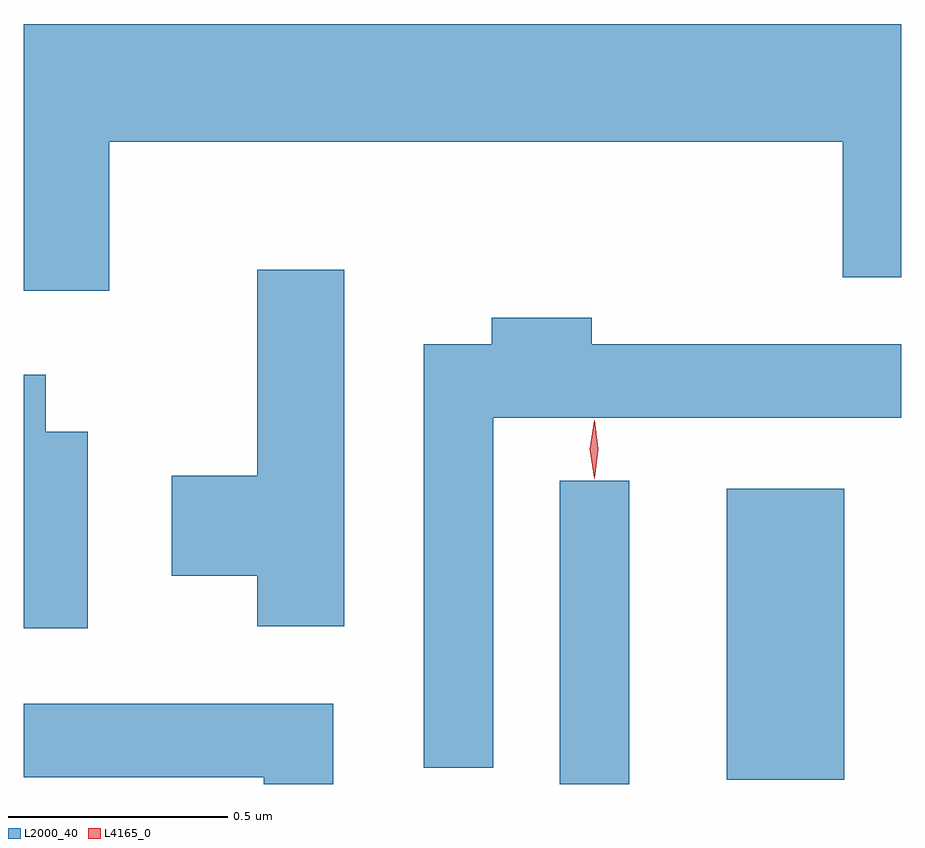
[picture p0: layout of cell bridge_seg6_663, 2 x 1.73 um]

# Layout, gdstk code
import gdstk
lib = gdstk.Library(unit=1e-6, precision=1e-09)
def R(c, l, rs):  # rectangles x0, y0, x1, y1
    for r in rs: c.add(gdstk.rectangle(r[:2], r[2:], *l))
def P(c, l, *ps):  # polygons
    for p in ps: c.add(gdstk.Polygon(p, *l))
L2000_40 = (2000, 40)
L4165_0 = (4165, 0)

bridge_seg6_663 = lib.new_cell('bridge_seg6_663')
R(bridge_seg6_663, L2000_40, [(402.836,1599.631,402.994,1600.323), (403.216,1599.641,403.484,1600.304)])
P(bridge_seg6_663, L2000_40, [(401.809,1601.096),(403.481,1601.096),(403.481,1600.786),(403.614,1600.786),(403.614,1601.364),(401.614,1601.364),(401.614,1600.756),(401.809,1600.756)],
  [(402.344,1600.804),(402.146,1600.804),(402.146,1600.334),(401.951,1600.334),(401.951,1600.106),(402.146,1600.106),(402.146,1599.991),(402.344,1599.991)],
  [(402.684,1600.466),(403.614,1600.466),(403.614,1600.634),(402.909,1600.634),(402.909,1600.694),(402.681,1600.694),(402.681,1600.634),(402.526,1600.634),(402.526,1599.668),(402.684,1599.668)],
  [(401.759,1600.434),(401.664,1600.434),(401.664,1600.564),(401.614,1600.564),(401.614,1599.986),(401.759,1599.986)],
  [(402.319,1599.814),(401.614,1599.814),(401.614,1599.646),(402.161,1599.646),(402.161,1599.631),(402.319,1599.631)])
P(bridge_seg6_663, L4165_0, [(402.915,1600.327),(402.914,1600.328),(402.904,1600.394),(402.914,1600.46),(402.914,1600.46),(402.915,1600.46),(402.924,1600.394),(402.915,1600.328)])

lib.write_gds('bridge_seg6_663.gds')
